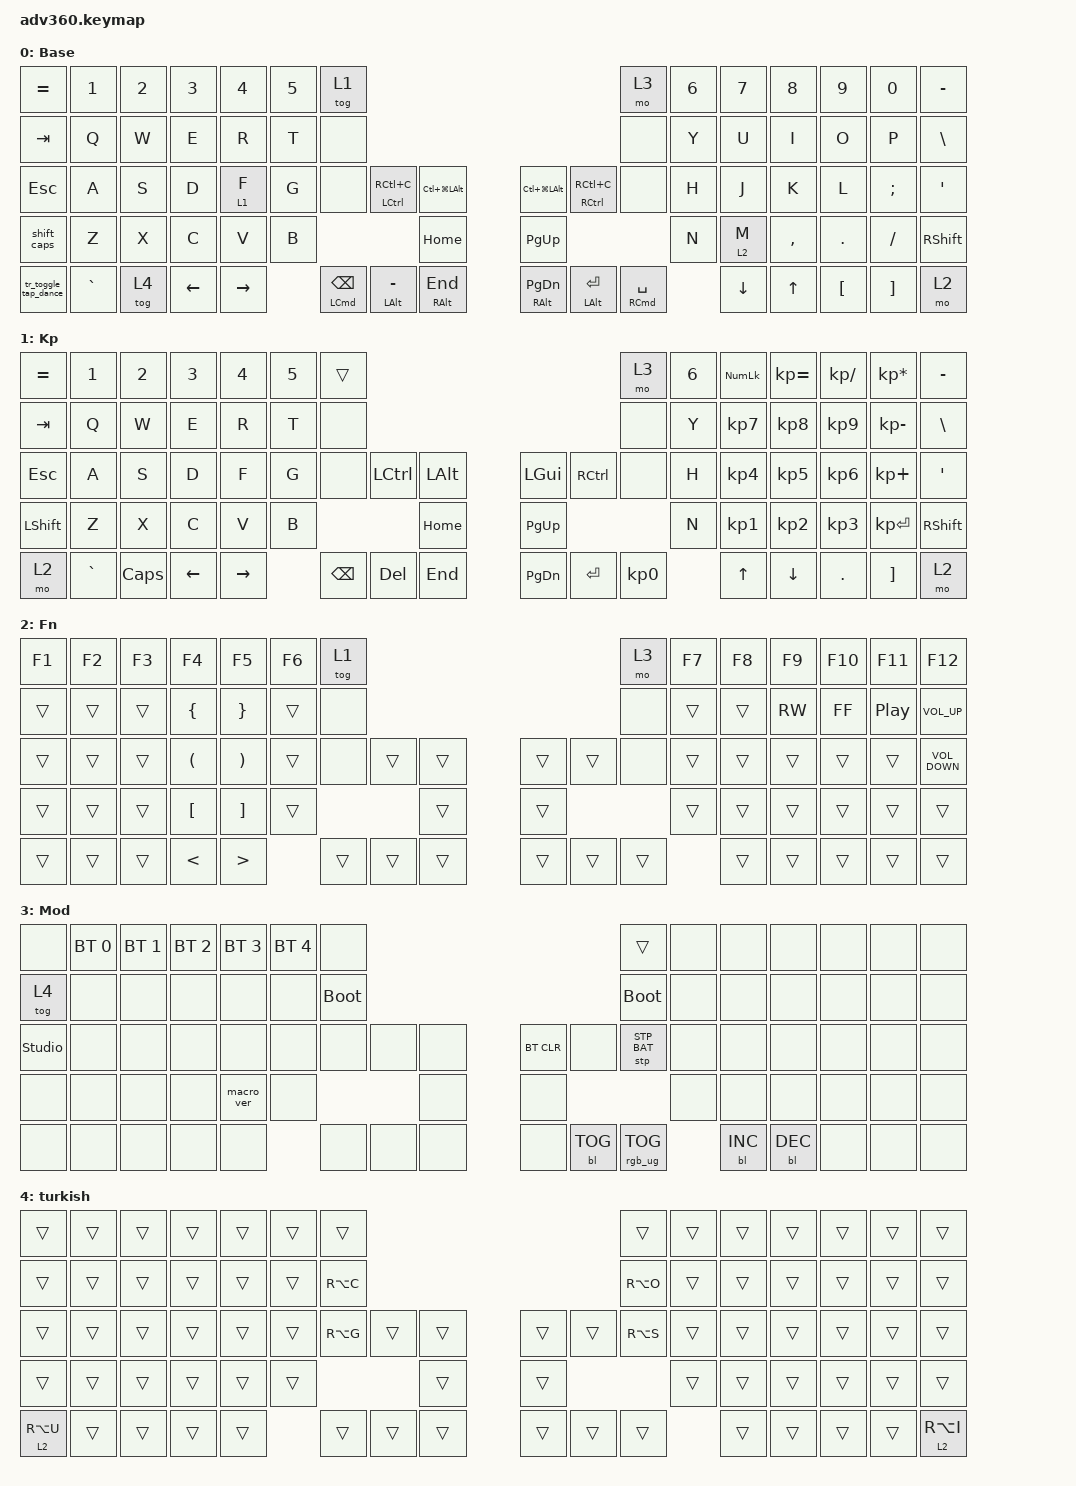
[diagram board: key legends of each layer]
#include <dt-bindings/zmk/stp.h>
#include <behaviors.dtsi>
#include <dt-bindings/zmk/backlight.h>
#include <dt-bindings/zmk/bt.h>
#include <dt-bindings/zmk/keys.h>
#include <dt-bindings/zmk/rgb.h>

/ {
    behaviors {
        #include "macros.dtsi"
      #include "version.dtsi"

        hm: homerow_mods {
            compatible = "zmk,behavior-hold-tap";
            label = "HOMEROW_MODS";
            #binding-cells = <2>;
            tapping-term-ms = <200>;
            quick_tap_ms = <175>;
            flavor = "tap-preferred";
            bindings = <&kp>, <&kp>;
        };

        tcmt: tcmt {
            compatible = "zmk,behavior-hold-tap";
            label = "TCMT";
            bindings = <&kp>, <&kp>;

            #binding-cells = <2>;
            tapping-term-ms = <200>;
            quick-tap-ms = <300>;
            require-prior-idle-ms = <0>;
            flavor = "balanced";
            hold-trigger-on-release;
        };

        tr_chars: tr_chars {
            compatible = "zmk,behavior-hold-tap";
            label = "Turkish Characters";
            bindings = <&kp>, <&kp>;

            #binding-cells = <2>;
            tapping-term-ms = <200>;
            flavor = "tap-preferred";
            require-prior-idle-ms = <125>;
        };

        shift_caps: shift_caps {
            compatible = "zmk,behavior-tap-dance";
            label = "SHIFT_CAPS";
            #binding-cells = <0>;
            bindings = <&kp LSHIFT>, <&kp CAPS>;
        };

        home_row_mod_left: home_row_mod_left {
            compatible = "zmk,behavior-hold-tap";
            label = "HOME_ROW_MOD_LEFT";
            bindings = <&mo>, <&kp>;

            #binding-cells = <2>;
            tapping-term-ms = <280>;
            quick-tap-ms = <175>;
            require-prior-idle-ms = <0>;
            flavor = "balanced";
            hold-trigger-on-release;
            hold-trigger-key-positions = <7 21 39 37 68 53 69 38 70 8 22 40 54 9 10 23 24 41 42 55 56 9 10 11 12 13 23 24 25 26 27 41 42 43 44 45 55 56 57 58 59 71 72 73 74 75>;
            retro-tap;
        };

        home_row_mod_right: home_row_mod_right {
            compatible = "zmk,behavior-hold-tap";
            label = "HOME_ROW_MOD_RIGHT";
            bindings = <&mo>, <&kp>;

            #binding-cells = <2>;
            tapping-term-ms = <280>;
            quick-tap-ms = <175>;
            require-prior-idle-ms = <0>;
            flavor = "balanced";
            hold-trigger-on-release;
            hold-trigger-key-positions = <0 1 2 3 4 5 6 14 15 16 17 18 19 20 28 29 30 31 32 33 34 35 36 46 47 48 49 50 51 52 60 61 62 63 64 65 66 67>;
            retro-tap;
        };

        emacs_leader: emacs_leader {
            compatible = "zmk,behavior-hold-tap";
            label = "EMACS_LEADER";
            bindings = <&kp>, <&sk>;

            #binding-cells = <2>;
            tapping-term-ms = <200>;
            flavor = "balanced";
        };

        emacs_leader_tap_hold: emacs_leader_tap_hold {
            compatible = "zmk,behavior-hold-tap";
            label = "EMACS_LEADER_TAP_HOLD";
            bindings = <&kp>, <&kp>;

            #binding-cells = <2>;
            tapping-term-ms = <200>;
            flavor = "balanced";
        };

        tr_toggle_tap_dance: tr_toggle_tap_dance {
            compatible = "zmk,behavior-tap-dance";
            label = "TR_TOGGLE_TAP_DANCE";
            #binding-cells = <0>;
            bindings = <&mo 2>, <&tog 4>;
        };
    };

    keymap {
        compatible = "zmk,keymap";

        default_layer {
            display-name = "Base";
            bindings = <
&kp EQUAL             &kp N1     &kp N2  &kp N3    &kp N4                  &kp N5  &tog 1                                                                                                                                               &mo 3                      &kp N6  &kp N7                   &kp N8     &kp N9    &kp N0    &kp MINUS
&kp TAB               &kp Q      &kp W   &kp E     &kp R                   &kp T   &none                                                                                                                                                &none                      &kp Y   &kp U                    &kp I      &kp O     &kp P     &kp BSLH
&kp ESC               &kp A      &kp S   &kp D     &home_row_mod_left 1 F  &kp G   &none                    &emacs_leader_tap_hold LCTRL RC(C)  &kp LC(LG(LALT))         &kp LC(LG(LALT))           &emacs_leader_tap_hold RCTRL RC(C)  &none                      &kp H   &kp J                    &kp K      &kp L     &kp SEMI  &kp SQT
&shift_caps           &kp Z      &kp X   &kp C     &kp V                   &kp B                                                                &kp HOME                 &kp PG_UP                                                                                 &kp N   &home_row_mod_right 2 M  &kp COMMA  &kp DOT   &kp FSLH  &kp RSHFT
&tr_toggle_tap_dance  &kp GRAVE  &tog 4  &kp LEFT  &kp RIGHT                       &tcmt LEFT_COMMAND BSPC  &tcmt LEFT_ALT MINUS                &tcmt RIGHT_ALT END      &tcmt RIGHT_ALT PAGE_DOWN  &tcmt LEFT_ALT ENTER                &tcmt RIGHT_COMMAND SPACE          &kp DOWN                 &kp UP     &kp LBKT  &kp RBKT  &mo 2
            >;
        };

        keypad {
            display-name = "Kp";
            bindings = <
&kp EQUAL  &kp N1     &kp N2    &kp N3    &kp N4     &kp N5  &trans                                                   &mo 3      &kp N6  &kp KP_NUM  &kp KP_EQUAL  &kp KP_DIVIDE  &kp KP_MULTIPLY  &kp MINUS
&kp TAB    &kp Q      &kp W     &kp E     &kp R      &kp T   &none                                                    &none      &kp Y   &kp KP_N7   &kp KP_N8     &kp KP_N9      &kp KP_MINUS     &kp BSLH
&kp ESC    &kp A      &kp S     &kp D     &kp F      &kp G   &none     &kp LCTRL  &kp LALT      &kp LGUI   &kp RCTRL  &none      &kp H   &kp KP_N4   &kp KP_N5     &kp KP_N6      &kp KP_PLUS      &kp SQT
&kp LSHFT  &kp Z      &kp X     &kp C     &kp V      &kp B                        &kp HOME      &kp PG_UP                        &kp N   &kp KP_N1   &kp KP_N2     &kp KP_N3      &kp KP_ENTER     &kp RSHFT
&mo 2      &kp GRAVE  &kp CAPS  &kp LEFT  &kp RIGHT          &kp BSPC  &kp DEL    &kp END       &kp PG_DN  &kp ENTER  &kp KP_N0          &kp UP      &kp DOWN      &kp PERIOD     &kp RBKT         &mo 2
            >;
        };

        fn {
            display-name = "Fn";
            bindings = <
&kp F1  &kp F2  &kp F3  &kp F4          &kp F5    &kp F6  &tog 1                                      &mo 3   &kp F7  &kp F8  &kp F9    &kp F10   &kp F11   &kp F12
&trans  &trans  &trans  &kp LEFT_BRACE  &kp RBRC  &trans  &none                                       &none   &trans  &trans  &kp C_RW  &kp C_FF  &kp C_PP  &kp C_VOLUME_UP
&trans  &trans  &trans  &kp LPAR        &kp RPAR  &trans  &none   &trans  &trans      &trans  &trans  &none   &trans  &trans  &trans    &trans    &trans    &kp C_VOLUME_DOWN
&trans  &trans  &trans  &kp LBKT        &kp RBKT  &trans                  &trans      &trans                  &trans  &trans  &trans    &trans    &trans    &trans
&trans  &trans  &trans  &kp LT          &kp GT            &trans  &trans  &trans      &trans  &trans  &trans          &trans  &trans    &trans    &trans    &trans
            >;
        };

        mod {
            display-name = "Mod";
            bindings = <
&none           &bt BT_SEL 0  &bt BT_SEL 1  &bt BT_SEL 2  &bt BT_SEL 3  &bt BT_SEL 4  &none                                                  &trans           &none  &none       &none       &none  &none  &none
&tog 4          &none         &none         &none         &none         &none         &bootloader                                            &bootloader      &none  &none       &none       &none  &none  &none
&studio_unlock  &none         &none         &none         &none         &none         &none        &none  &none      &bt BT_CLR  &none       &stp STP_BAT     &none  &none       &none       &none  &none  &none
&none           &none         &none         &none         &macro_ver    &none                             &none      &none                                    &none  &none       &none       &none  &none  &none
&none           &none         &none         &none         &none                       &none        &none  &none      &none       &bl BL_TOG  &rgb_ug RGB_TOG         &bl BL_INC  &bl BL_DEC  &none  &none  &none
            >;
        };

        turkish {
            bindings = <
&trans       &trans  &trans  &trans  &trans  &trans  &trans                                         &trans     &trans  &trans  &trans  &trans  &trans  &trans
&trans       &trans  &trans  &trans  &trans  &trans  &kp RA(C)                                      &kp RA(O)  &trans  &trans  &trans  &trans  &trans  &trans
&trans       &trans  &trans  &trans  &trans  &trans  &kp RA(G)  &trans  &trans      &trans  &trans  &kp RA(S)  &trans  &trans  &trans  &trans  &trans  &trans
&trans       &trans  &trans  &trans  &trans  &trans                     &trans      &trans                     &trans  &trans  &trans  &trans  &trans  &trans
&lt 2 RA(U)  &trans  &trans  &trans  &trans          &trans     &trans  &trans      &trans  &trans  &trans             &trans  &trans  &trans  &trans  &lt 2 RA(I)
            >;
        };

        extra1 {
            display-name = "Red";
            status = "reserved";
        };

        extra2 {
            display-name = "Purple";
            status = "reserved";
        };

        extra3 {
            display-name = "Cyan";
            status = "reserved";
        };

        extra4 {
            display-name = "Yellow";
            status = "reserved";
        };
    };
};
